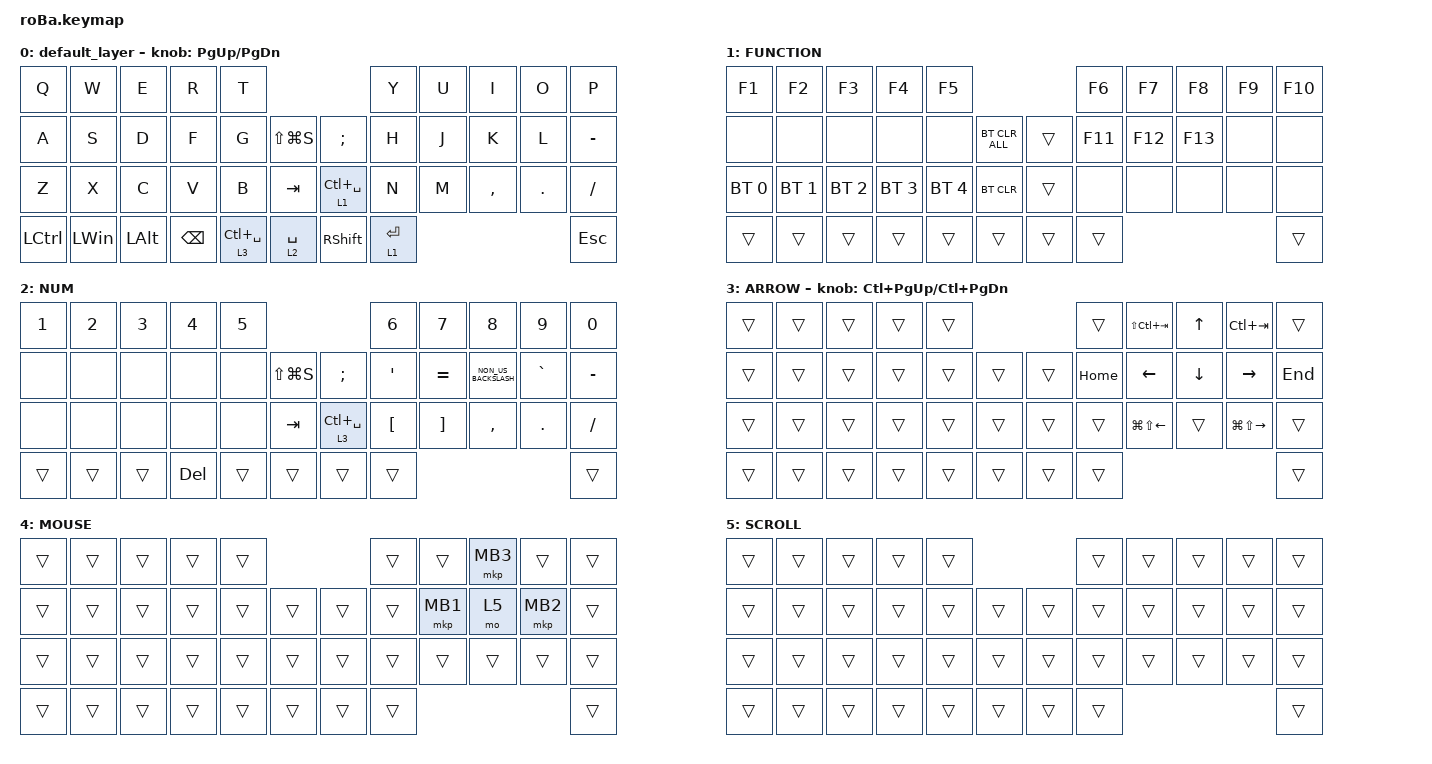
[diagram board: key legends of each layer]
#include <behaviors.dtsi>
#include <dt-bindings/zmk/bt.h>
#include <dt-bindings/zmk/keys.h>
#include <dt-bindings/zmk/pointing.h>

&mt {
    flavor = "balanced";
    quick-tap-ms = <0>;
};

&trackball {
    automouse-layer = <4>;
    scroll-layers = <5>;

    // arrows {
    //     layers = <3>;
    //     bindings =
    //         <&kp RIGHT_ARROW>,
    //         <&kp LEFT_ARROW>,
    //         <&kp UP_ARROW>,
    //         <&kp DOWN_ARROW>;
    //     tick = <10>;
    //     wait-ms = <5>;
    //     tap-ms = <5>;
    // };
};

/ {
    combos {
        compatible = "zmk,combos";

        tab {
            bindings = <&kp TAB>;
            key-positions = <11 12>;
        };

        shift_tab {
            bindings = <&kp LS(TAB)>;
            key-positions = <12 13>;
        };

        muhennkann {
            bindings = <&to_layer_0 INT_MUHENKAN>;
            key-positions = <11 10>;
        };

        double_quotation {
            bindings = <&kp DOUBLE_QUOTES>;
            key-positions = <20 21>;
        };

        eq {
            bindings = <&kp EQUAL>;
            key-positions = <24 25>;
        };
    };

    macros {
        to_layer_0: to_layer_0 {
            compatible = "zmk,behavior-macro-one-param";
            #binding-cells = <1>;
            bindings = <&to 0 &macro_param_1to1 &kp MACRO_PLACEHOLDER>;
            label = "TO_LAYER_0";
        };
    };

    behaviors {
        lt_to_layer_0: lt_to_layer_0 {
            compatible = "zmk,behavior-hold-tap";
            label = "LAYER_TAP_TO_0";
            bindings = <&mo>, <&to_layer_0>;

            #binding-cells = <2>;
            tapping-term-ms = <200>;
        };
    };

    keymap {
        compatible = "zmk,keymap";

        default_layer {
            bindings = <
&kp Q      &kp W         &kp E         &kp R          &kp T                                                &kp Y         &kp U  &kp I      &kp O    &kp P
&kp A      &kp S         &kp D         &kp F          &kp G            &kp LS(LG(S))      &kp SEMICOLON    &kp H         &kp J  &kp K      &kp L    &kp MINUS
&kp Z      &kp X         &kp C         &kp V          &kp B            &kp TAB            &lt 1 LC(SPACE)  &kp N         &kp M  &kp COMMA  &kp DOT  &kp SLASH
&kp LCTRL  &kp LEFT_WIN  &kp LEFT_ALT  &kp BACKSPACE  &lt 3 LC(SPACE)  &lt 2 SPACE        &kp RIGHT_SHIFT  &lt 1 RETURN                             &kp ESCAPE
            >;

            sensor-bindings = <&inc_dec_kp PG_UP PAGE_DOWN>;
        };

        FUNCTION {
            bindings = <
&kp F1        &kp F2        &kp F3        &kp F4        &kp F5                                    &kp F6   &kp F7   &kp F8   &kp F9  &kp F10
&none         &none         &none         &none         &none         &bt BT_CLR_ALL      &trans  &kp F11  &kp F12  &kp F13  &none   &none
&bt BT_SEL 0  &bt BT_SEL 1  &bt BT_SEL 2  &bt BT_SEL 3  &bt BT_SEL 4  &bt BT_CLR          &trans  &none    &none    &none    &none   &none
&trans        &trans        &trans        &trans        &trans        &trans              &trans  &trans                             &trans
            >;
        };

        NUM {
            bindings = <
&kp NUMBER_1  &kp NUMBER_2  &kp NUMBER_3  &kp NUMBER_4  &kp N5                                      &kp NUMBER_6      &kp N7             &kp NUMBER_8          &kp NUMBER_9  &kp NUMBER_0
&none         &none         &none         &none         &none   &kp LS(LG(S))      &kp SEMICOLON    &kp SQT           &kp EQUAL          &kp NON_US_BACKSLASH  &kp GRAVE     &kp MINUS
&none         &none         &none         &none         &none   &kp TAB            &lt 3 LC(SPACE)  &kp LEFT_BRACKET  &kp RIGHT_BRACKET  &kp COMMA             &kp PERIOD    &kp SLASH
&trans        &trans        &trans        &kp DELETE    &trans  &trans             &trans           &trans                                                                   &trans
            >;
        };

        ARROW {
            bindings = <
&trans  &trans  &trans  &trans  &trans                      &trans    &kp LS(LC(TAB))         &kp UP_ARROW    &kp LC(TAB)              &trans
&trans  &trans  &trans  &trans  &trans  &trans      &trans  &kp HOME  &kp LEFT_ARROW          &kp DOWN_ARROW  &kp RIGHT                &kp END
&trans  &trans  &trans  &trans  &trans  &trans      &trans  &trans    &kp LG(LS(LEFT_ARROW))  &trans          &kp LG(LS(RIGHT_ARROW))  &trans
&trans  &trans  &trans  &trans  &trans  &trans      &trans  &trans                                                                     &trans
            >;

            sensor-bindings = <&inc_dec_kp LC(PAGE_UP) LC(PAGE_DOWN)>;
        };

        MOUSE {
            bindings = <
&trans  &trans  &trans  &trans  &trans                      &trans  &trans    &mkp MB3  &trans    &trans
&trans  &trans  &trans  &trans  &trans  &trans      &trans  &trans  &mkp MB1  &mo 5     &mkp MB2  &trans
&trans  &trans  &trans  &trans  &trans  &trans      &trans  &trans  &trans    &trans    &trans    &trans
&trans  &trans  &trans  &trans  &trans  &trans      &trans  &trans                                &trans
            >;
        };

        SCROLL {
            bindings = <
&trans  &trans  &trans  &trans  &trans                      &trans  &trans  &trans  &trans  &trans
&trans  &trans  &trans  &trans  &trans  &trans      &trans  &trans  &trans  &trans  &trans  &trans
&trans  &trans  &trans  &trans  &trans  &trans      &trans  &trans  &trans  &trans  &trans  &trans
&trans  &trans  &trans  &trans  &trans  &trans      &trans  &trans                          &trans
            >;
        };
    };
};
